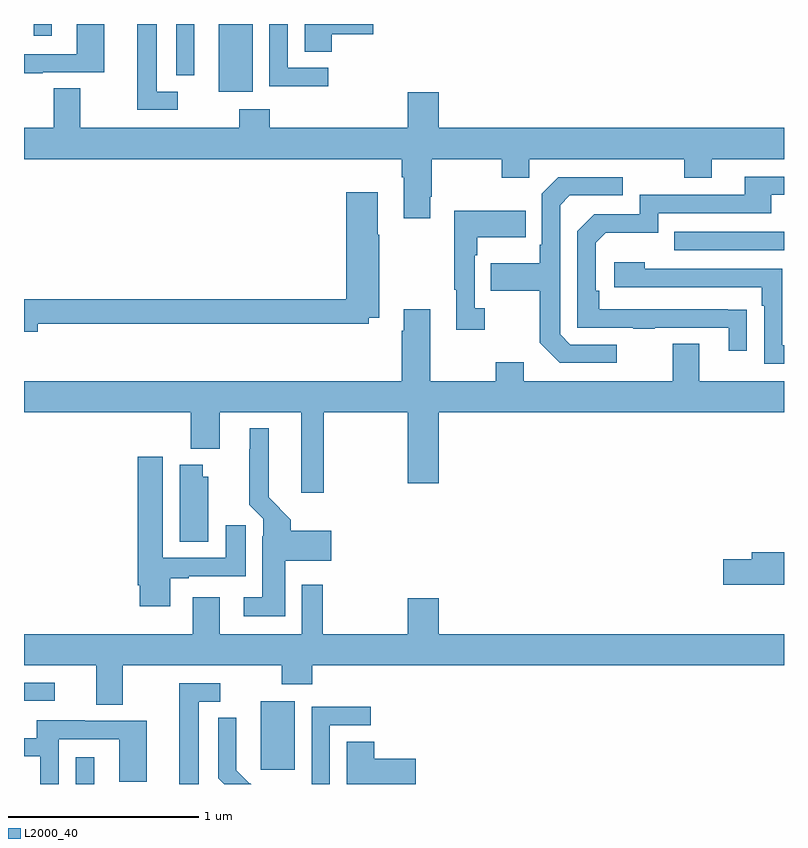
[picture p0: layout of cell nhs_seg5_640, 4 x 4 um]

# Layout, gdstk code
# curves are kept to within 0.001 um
import gdstk
lib = gdstk.Library(unit=1e-6, precision=1e-09)
def R(c, l, rs):  # rectangles x0, y0, x1, y1
    for r in rs: c.add(gdstk.rectangle(r[:2], r[2:], *l))
def P(c, l, *ps):  # polygons
    for p in ps: c.add(gdstk.Polygon(p, *l))
L2000_40 = (2000, 40)

nhs_seg5_640 = lib.new_cell('nhs_seg5_640')
R(nhs_seg5_640, L2000_40, [(151.272,858.799,151.369,858.94), (152.246,858.873,152.425,859.234), (151,859.236,151.162,859.332), (154.423,861.609,155,861.705), (152.024,862.442,152.203,862.799), (151.05,862.737,151.147,862.799)])
P(nhs_seg5_640, L2000_40, [(151.099,862.545),(151.423,862.545),(151.423,862.799),(151.278,862.799),(151.278,862.641),(151,862.641),(151,862.541),(151.099,862.541)],
  [(151.896,862.682),(151.895,862.682),(151.895,862.799),(151.8,862.799),(151.8,862.528),(151.896,862.528)],
  [(152.602,862.569),(152.388,862.569),(152.388,862.799),(152.292,862.799),(152.292,862.471),(152.602,862.471)],
  [(152.621,862.745),(152.839,862.745),(152.839,862.799),(152.477,862.799),(152.477,862.654),(152.621,862.654)],
  [(151.81,862.443),(151.699,862.443),(151.699,862.799),(151.595,862.799),(151.595,862.347),(151.81,862.347)],
  [(153.139,861.889),(153.147,861.889),(153.147,862.088),(153.514,862.088),(153.514,861.989),(153.66,861.989),(153.66,862.088),(154.474,862.088),(154.474,861.989),(154.621,861.989),(154.621,862.088),(155,862.088),(155,862.252),(153.184,862.252),(153.184,862.441),(153.02,862.441),(153.02,862.252),(152.294,862.252),(152.294,862.351),(152.134,862.351),(152.134,862.252),(151.297,862.252),(151.297,862.46),(151.157,862.46),(151.157,862.252),(151,862.252),(151,862.088),(152.987,862.088),(152.987,861.992),(152.999,861.992),(152.999,861.777),(153.139,861.777)],
  [(154.805,861.296),(154.028,861.297),(154.028,861.394),(154.008,861.394),(154.008,861.648),(154.061,861.701),(154.338,861.701),(154.338,861.804),(154.933,861.804),(154.933,861.9),(155,861.9),(155,861.996),(154.793,861.996),(154.793,861.9),(154.242,861.9),(154.242,861.798),(154.002,861.798),(153.912,861.708),(153.912,861.201),(154.207,861.201),(154.207,861.196),(154.319,861.196),(154.319,861.201),(154.709,861.201),(154.709,861.078),(154.805,861.078)],
  [(154.12,861.111),(153.876,861.111),(153.822,861.165),(153.822,861.846),(153.873,861.897),(154.15,861.897),(154.15,861.993),(153.813,861.993),(153.726,861.906),(153.726,861.637),(153.714,861.637),(153.714,861.541),(153.457,861.541),(153.457,861.394),(153.714,861.394),(153.714,861.121),(153.819,861.015),(154.12,861.015)],
  [(151.072,861.222),(152.814,861.222),(152.814,861.254),(152.871,861.254),(152.871,861.689),(152.863,861.689),(152.863,861.913),(152.696,861.913),(152.696,861.35),(151,861.35),(151,861.179),(151.072,861.179)],
  [(153.424,861.302),(153.372,861.302),(153.372,861.581),(153.385,861.581),(153.385,861.677),(153.641,861.677),(153.641,861.817),(153.264,861.817),(153.264,861.401),(153.275,861.401),(153.275,861.189),(153.424,861.189)],
  [(155,861.108),(154.992,861.108),(154.992,861.51),(154.268,861.51),(154.268,861.544),(154.107,861.544),(154.107,861.414),(154.883,861.414),(154.883,861.317),(154.896,861.317),(154.896,861.012),(155,861.012)],
  [(152.577,860.756),(153.02,860.756),(153.02,860.382),(153.184,860.382),(153.184,860.756),(155,860.756),(155,860.92),(154.555,860.92),(154.555,861.115),(154.415,861.115),(154.415,860.92),(153.631,860.92),(153.631,861.019),(153.484,861.019),(153.484,860.92),(153.139,860.92),(153.139,861.298),(152.999,861.298),(152.999,861.185),(152.987,861.185),(152.987,860.92),(151,860.92),(151,860.756),(151.877,860.756),(151.877,860.564),(152.029,860.564),(152.029,860.756),(152.459,860.756),(152.459,860.331),(152.577,860.331)],
  [(152.374,859.973),(152.617,859.973),(152.617,860.131),(152.405,860.131),(152.405,860.19),(152.287,860.308),(152.287,860.671),(152.189,860.671),(152.189,860.561),(152.185,860.561),(152.185,860.27),(152.259,860.196),(152.259,860.102),(152.255,860.102),(152.255,859.783),(152.157,859.783),(152.157,859.682),(152.374,859.682)],
  [(151.771,859.881),(151.867,859.881),(151.867,859.893),(152.167,859.893),(152.167,860.161),(152.063,860.161),(152.063,859.989),(151.729,859.989),(151.729,860.521),(151.598,860.521),(151.598,859.846),(151.61,859.846),(151.61,859.734),(151.771,859.734)],
  [(151.969,860.415),(151.942,860.415),(151.942,860.479),(151.82,860.479),(151.82,860.074),(151.969,860.074)],
  [(155,860.018),(154.829,860.018),(154.829,859.982),(154.68,859.982),(154.68,859.847),(155,859.847)],
  [(151.519,859.424),(152.356,859.424),(152.356,859.325),(152.516,859.325),(152.516,859.424),(155,859.424),(155,859.588),(153.184,859.588),(153.184,859.777),(153.02,859.777),(153.02,859.588),(152.572,859.588),(152.572,859.849),(152.463,859.849),(152.463,859.588),(152.029,859.588),(152.029,859.783),(151.889,859.783),(151.889,859.588),(151,859.588),(151,859.424),(151.379,859.424),(151.379,859.216),(151.519,859.216)],
  [(151.921,859.233),(152.032,859.233),(152.032,859.329),(151.817,859.329),(151.817,858.799),(151.921,858.799)],
  [(152.61,859.107),(152.824,859.107),(152.824,859.206),(152.514,859.206),(152.514,858.799),(152.61,858.799)],
  [(152.19,858.804),(152.187,858.801),(152.117,858.872),(152.117,858.994),(152.118,858.994),(152.118,859.148),(152.022,859.148),(152.022,858.83),(152.053,858.799),(152.195,858.799)],
  [(151.182,859.035),(151.5,859.035),(151.5,858.811),(151.645,858.811),(151.645,859.131),(151.321,859.131),(151.321,859.135),(151.067,859.135),(151.067,859.041),(151,859.041),(151,858.945),(151.086,858.945),(151.086,858.799),(151.182,858.799)],
  [(153.061,858.932),(152.843,858.932),(152.843,859.022),(152.699,859.022),(152.699,858.799),(153.061,858.799)])

lib.write_gds('nhs_seg5_640.gds')
